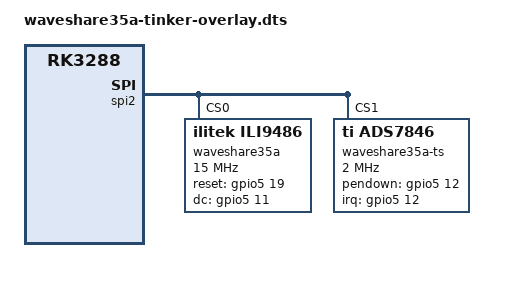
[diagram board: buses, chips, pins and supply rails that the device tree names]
/dts-v1/;
/plugin/;

/ {
	compatible = "rockchip,rk3288-miniarm", "rockchip,rk3288";

	fragment@0 {
		target = <&spi2>;

		__overlay__ {
			status = "okay";

			spidev@0 {
				status = "disabled";
			};

			spidev@1 {
				status = "disabled";
			};
		};
	};

	fragment@1 {
		target = <&gpio5>;

		__overlay__ {
			waveshare35a_pins: waveshare35a_pins {
				rockchip,pins = <5 19 0 &pcfg_pull_none>,
                                <5 11 0 &pcfg_pull_none>,
                                <5 12 0 &pcfg_pull_none>;
			};
		};
	};

	fragment@2 {
		target = <&spi2>;

		__overlay__ {
			#address-cells = <0x1>;
			#size-cells = <0x0>;

			waveshare35a@0 {
					compatible = "ilitek,ili9486";
					reg = <0>;
					pinctrl-names = "default";
					pinctrl-0 = <&waveshare35a_pins>;
					spi-max-frequency = <15000000>;
					txbuflen = <32768>;
					rotate = <270>;
					bgr = <0>;
					fps = <30>;
					buswidth = <8>;
					regwidth = <16>;
					reset-gpios = <&gpio5 19 0>;
					dc-gpios = <&gpio5 11 0>;
					debug = <0>;
					init = <0x10000b0 0x00
							0x1000011
						0x20000ff
						0x100003a 0x55
						0x1000036 0x28
						0x10000c2 0x44
						0x10000c5 0x00 0x00 0x00 0x00
						0x10000e0 0x0f 0x1f 0x1c 0x0c 0x0f 0x08 0x48 0x98 0x37 0x0a 0x13 0x04 0x11 0x0d 0x00
						0x10000e1 0x0f 0x32 0x2e 0x0b 0x0d 0x05 0x47 0x75 0x37 0x06 0x10 0x03 0x24 0x20 0x00
						0x10000e2 0x0f 0x32 0x2e 0x0b 0x0d 0x05 0x47 0x75 0x37 0x06 0x10 0x03 0x24 0x20 0x00
						/* piscreen -> waveshare35a */
						0x1000036 0x28
						0x1000011
						0x1000029>;
				};
	
				waveshare35a-ts@1 {
					compatible = "ti,ads7846";
					reg = <1>;
					spi-max-frequency = <2000000>;
					interrupts = <12 2>;
					interrupt-parent = <&gpio5>;
					pendown-gpio = <&gpio5 12 0>;
					ti,x-plate-ohms = /bits/ 16 <60>;/*[00 3c];*/
					ti,pressure-max = /bits/ 16 <255>;/*[00 ff];*/
					ti,swap-xy = <0>;
				};
		};
	};
};
